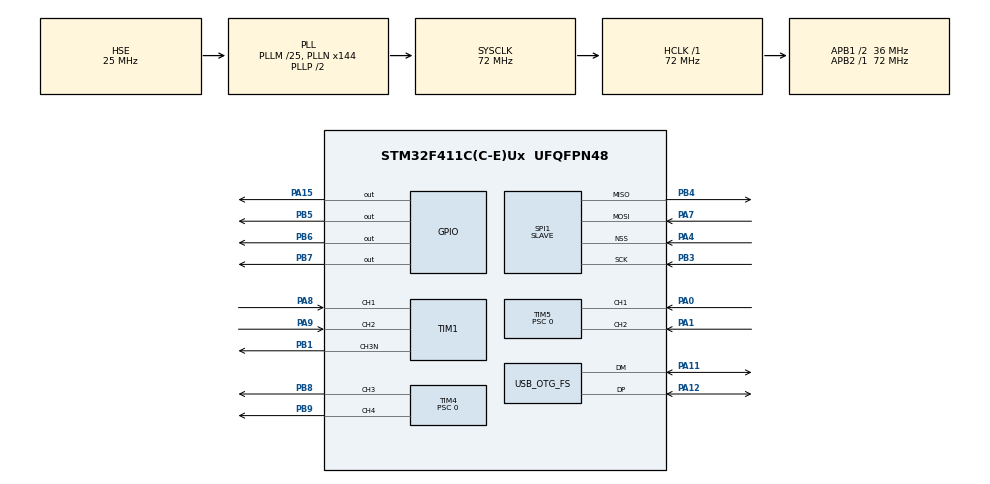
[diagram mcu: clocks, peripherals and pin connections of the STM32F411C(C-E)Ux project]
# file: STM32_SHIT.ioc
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Dma.Request0=SPI1_RX
Dma.Request1=SPI1_TX
Dma.SPI1_RX.0.Direction=DMA_PERIPH_TO_MEMORY
Dma.SPI1_RX.0.FIFOMode=DMA_FIFOMODE_DISABLE
Dma.SPI1_RX.0.Instance=DMA2_Stream0
Dma.SPI1_RX.0.MemDataAlignment=DMA_MDATAALIGN_BYTE
Dma.SPI1_RX.0.MemInc=DMA_MINC_ENABLE
Dma.SPI1_RX.0.Mode=DMA_NORMAL
Dma.SPI1_RX.0.PeriphDataAlignment=DMA_PDATAALIGN_BYTE
Dma.SPI1_RX.0.PeriphInc=DMA_PINC_DISABLE
Dma.SPI1_RX.0.Priority=DMA_PRIORITY_LOW
Dma.SPI1_TX.1.Direction=DMA_MEMORY_TO_PERIPH
Dma.SPI1_TX.1.FIFOMode=DMA_FIFOMODE_DISABLE
Dma.SPI1_TX.1.Instance=DMA2_Stream2
Dma.SPI1_TX.1.MemDataAlignment=DMA_MDATAALIGN_BYTE
Dma.SPI1_TX.1.MemInc=DMA_MINC_ENABLE
Dma.SPI1_TX.1.Mode=DMA_NORMAL
Dma.SPI1_TX.1.PeriphDataAlignment=DMA_PDATAALIGN_BYTE
Dma.SPI1_TX.1.PeriphInc=DMA_PINC_DISABLE
Dma.SPI1_TX.1.Priority=DMA_PRIORITY_LOW
Mcu.Family=STM32F4
Mcu.Name=STM32F411C(C-E)Ux
Mcu.Package=UFQFPN48
NVIC.DMA2_Stream0_IRQn=true\:0\:0\:false\:false\:true\:false\:true\:true
NVIC.DMA2_Stream2_IRQn=true\:0\:0\:false\:false\:true\:false\:true\:true
NVIC.OTG_FS_IRQn=true\:0\:0\:false\:false\:true\:false\:true\:true
NVIC.PriorityGroup=NVIC_PRIORITYGROUP_4
NVIC.SPI1_IRQn=true\:0\:0\:false\:false\:true\:true\:true\:true
PA0-WKUP.Signal=S_TIM5_CH1
PA1.Signal=S_TIM5_CH2
PA11.Mode=Device_Only
PA11.Signal=USB_OTG_FS_DM
PA12.Mode=Device_Only
PA12.Signal=USB_OTG_FS_DP
PA15.Signal=GPIO_Output
PA4.Mode=NSS_Signal_Hard_Input
PA4.Signal=SPI1_NSS
PA7.Mode=Full_Duplex_Slave
PA7.Signal=SPI1_MOSI
PA8.Signal=S_TIM1_CH1
PA9.Signal=S_TIM1_CH2
PB1.Mode=PWM Generation3 CH3N
PB1.Signal=TIM1_CH3N
PB3.Mode=Full_Duplex_Slave
PB3.Signal=SPI1_SCK
PB4.Mode=Full_Duplex_Slave
PB4.Signal=SPI1_MISO
PB5.Signal=GPIO_Output
PB6.Signal=GPIO_Output
PB7.Signal=GPIO_Output
PB8.Signal=S_TIM4_CH3
PB9.Signal=S_TIM4_CH4
PC14-OSC32_IN.Mode=LSE-External-Oscillator
PC14-OSC32_IN.Signal=RCC_OSC32_IN
PC15-OSC32_OUT.Mode=LSE-External-Oscillator
PC15-OSC32_OUT.Signal=RCC_OSC32_OUT
PH0\ -\ OSC_IN.Mode=HSE-External-Oscillator
PH0\ -\ OSC_IN.Signal=RCC_OSC_IN
PH1\ -\ OSC_OUT.Mode=HSE-External-Oscillator
PH1\ -\ OSC_OUT.Signal=RCC_OSC_OUT
ProjectManager.HeapSize=0x200
ProjectManager.StackSize=0x400
ProjectManager.TargetToolchain=STM32CubeIDE
RCC.48MHZClocksFreq_Value=48000000
RCC.AHBFreq_Value=72000000
RCC.APB1CLKDivider=RCC_HCLK_DIV2
RCC.APB1Freq_Value=36000000
RCC.APB1TimFreq_Value=72000000
RCC.APB2Freq_Value=72000000
RCC.APB2TimFreq_Value=72000000
RCC.CortexFreq_Value=72000000
RCC.HCLKFreq_Value=72000000
RCC.HSE_VALUE=25000000
RCC.HSI_VALUE=16000000
RCC.PLLM=25
RCC.PLLN=144
RCC.PLLQ=3
RCC.SYSCLKFreq_VALUE=72000000
RCC.SYSCLKSource=RCC_SYSCLKSOURCE_PLLCLK
RCC.VCOOutputFreq_Value=144000000
SH.S_TIM1_CH1.0=TIM1_CH1,Encoder_Interface
SH.S_TIM1_CH2.0=TIM1_CH2,Encoder_Interface
SH.S_TIM4_CH3.0=TIM4_CH3,PWM Generation3 CH3
SH.S_TIM4_CH4.0=TIM4_CH4,PWM Generation4 CH4
SH.S_TIM5_CH1.0=TIM5_CH1,Encoder_Interface
SH.S_TIM5_CH2.0=TIM5_CH2,Encoder_Interface
SPI1.CLKPhase=SPI_PHASE_1EDGE
SPI1.CLKPolarity=SPI_POLARITY_LOW
SPI1.Direction=SPI_DIRECTION_2LINES
SPI1.Mode=SPI_MODE_SLAVE
SPI1.VirtualNSS=VM_NSSHARD
SPI1.VirtualType=VM_SLAVE
TIM1.AutoReloadPreload=TIM_AUTORELOAD_PRELOAD_ENABLE
TIM1.Channel-PWM\ Generation3\ CH3N=TIM_CHANNEL_3
TIM2.AutoReloadPreload=TIM_AUTORELOAD_PRELOAD_ENABLE
TIM2.Period=65535
TIM2.Prescaler=0
TIM4.AutoReloadPreload=TIM_AUTORELOAD_PRELOAD_ENABLE
TIM4.Channel-PWM\ Generation3\ CH3=TIM_CHANNEL_3
TIM4.Channel-PWM\ Generation4\ CH4=TIM_CHANNEL_4
TIM4.OC3Preload_PWM=DISABLE
TIM4.OC4Preload_PWM=DISABLE
TIM4.OCFastMode_PWM-PWM\ Generation3\ CH3=TIM_OCFAST_DISABLE
TIM4.OCFastMode_PWM-PWM\ Generation4\ CH4=TIM_OCFAST_DISABLE
TIM4.OCPolarity_3=TIM_OCPOLARITY_HIGH
TIM4.OCPolarity_4=TIM_OCPOLARITY_HIGH
TIM4.Period=65535
TIM4.Prescaler=0
TIM5.AutoReloadPreload=TIM_AUTORELOAD_PRELOAD_ENABLE
TIM5.Period=65535
TIM5.Prescaler=0
USB_DEVICE.CLASS_NAME_FS=CDC
USB_DEVICE.VirtualMode=Cdc
USB_DEVICE.VirtualModeFS=Cdc_FS
USB_OTG_FS.Sof_enable=ENABLE
USB_OTG_FS.VirtualMode=Device_Only
VP_TIM2_VS_ClockSourceINT.Mode=Internal
VP_TIM3_VS_ClockSourceINT.Mode=Internal
VP_TIM4_VS_ClockSourceINT.Mode=Internal
VP_USB_DEVICE_VS_USB_DEVICE_CDC_FS.Mode=CDC_FS
board=custom

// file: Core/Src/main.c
/* USER CODE BEGIN Header */
/**
  ******************************************************************************
  * @file           : main.c
  * @brief          : Main program body
  ******************************************************************************
  * @attention
  *
  * Copyright (c) 2024 STMicroelectronics.
  * All rights reserved.
  *
  * This software is licensed under terms that can be found in the LICENSE file
  * in the root directory of this software component.
  * If no LICENSE file comes with this software, it is provided AS-IS.
  *
  ******************************************************************************
  */
/* USER CODE END Header */
#include "main.h"
#include "usb_device.h"

/* USER CODE BEGIN Includes */
#include "impl.h"

/* USER CODE END Includes */

SPI_HandleTypeDef hspi1;
DMA_HandleTypeDef hdma_spi1_rx;
DMA_HandleTypeDef hdma_spi1_tx;

TIM_HandleTypeDef htim1;
TIM_HandleTypeDef htim2;
TIM_HandleTypeDef htim3;
TIM_HandleTypeDef htim4;
TIM_HandleTypeDef htim5;

void SystemClock_Config(void);
static void MX_GPIO_Init(void);
static void MX_DMA_Init(void);
static void MX_TIM2_Init(void);
static void MX_SPI1_Init(void);
static void MX_TIM3_Init(void);
static void MX_TIM4_Init(void);
static void MX_TIM5_Init(void);
static void MX_TIM1_Init(void);

int main(void)
{

  /* MCU Configuration--------------------------------------------------------*/

  /* Reset of all peripherals, Initializes the Flash interface and the Systick. */
  HAL_Init();

  /* Configure the system clock */
  SystemClock_Config();

  /* Initialize all configured peripherals */
  MX_GPIO_Init();
  MX_DMA_Init();
  MX_USB_DEVICE_Init();
  MX_TIM2_Init();
  MX_SPI1_Init();
  MX_TIM3_Init();
  MX_TIM4_Init();
  MX_TIM5_Init();
  MX_TIM1_Init();

  /* Infinite loop */
  /* USER CODE BEGIN WHILE */
  HAL_TIM_Encoder_Start(&htim1, TIM_CHANNEL_1);
  HAL_TIM_Encoder_Start(&htim1, TIM_CHANNEL_2);
  HAL_TIM_Encoder_Start(&htim5, TIM_CHANNEL_1);
  HAL_TIM_Encoder_Start(&htim5, TIM_CHANNEL_2);

  HAL_TIM_PWM_Start(&htim4, TIM_CHANNEL_3); // RIGHT
  HAL_TIM_PWM_Start(&htim4, TIM_CHANNEL_4); // LEFT

  TIM1->CCR1 = 0;
  TIM5->CCR1 = 0;

  while (1)
  {
    /* USER CODE END WHILE */

    /* USER CODE BEGIN 3 */
	  union packet {
		  uint8_t bytes[8];
		  int32_t words[2];
	  };

	  union packet rxdata;
	  rxdata.words[0] = 0;
	  rxdata.words[1] = 0;

	  union packet txdata;
	  txdata.words[0] = getMotorDeltaLeft();
	  txdata.words[1] = getMotorDeltaRight();

	  HAL_SPI_Receive(&hspi1, rxdata.bytes, 1, 2);

	  switch (rxdata.bytes[0]) {
	  case 0xAB:
		  HAL_SPI_Receive(&hspi1, rxdata.bytes, 1, 2);
		  if (rxdata.bytes[0] == 0xCD) {
			  HAL_SPI_Transmit(&hspi1, (void*)txdata.bytes, sizeof(txdata.bytes), sizeof(txdata.bytes) * 10);
			  xprintf("\nGET Left: %d, Right: %d\n", txdata.words[0], txdata.words[1]);
		  }
		  break;
	  case 0xDE:
		  HAL_SPI_Receive(&hspi1, rxdata.bytes, 1, 2);
		  if (rxdata.bytes[0] == 0xAD) {
			  HAL_SPI_Receive(&hspi1, (void*)rxdata.bytes, sizeof(rxdata.bytes), sizeof(rxdata.bytes) * 10);
			  xprintf("\nSET Left: %d, Right: %d\n", rxdata.words[0], rxdata.words[1]);

			  setMotorDeltaLeft(rxdata.words[0]);
			  setMotorDeltaRight(rxdata.words[1]);
		  }
		  break;
	  default:
		  break;
	  }
  }
  /* USER CODE END 3 */
}

void SystemClock_Config(void)
{
  RCC_OscInitTypeDef RCC_OscInitStruct = {0};
  RCC_ClkInitTypeDef RCC_ClkInitStruct = {0};

  /** Configure the main internal regulator output voltage
  */
  __HAL_RCC_PWR_CLK_ENABLE();
  __HAL_PWR_VOLTAGESCALING_CONFIG(PWR_REGULATOR_VOLTAGE_SCALE1);

  /** Initializes the RCC Oscillators according to the specified parameters
  * in the RCC_OscInitTypeDef structure.
  */
  RCC_OscInitStruct.OscillatorType = RCC_OSCILLATORTYPE_HSE;
  RCC_OscInitStruct.HSEState = RCC_HSE_ON;
  RCC_OscInitStruct.PLL.PLLState = RCC_PLL_ON;
  RCC_OscInitStruct.PLL.PLLSource = RCC_PLLSOURCE_HSE;
  RCC_OscInitStruct.PLL.PLLM = 25;
  RCC_OscInitStruct.PLL.PLLN = 144;
  RCC_OscInitStruct.PLL.PLLP = RCC_PLLP_DIV2;
  RCC_OscInitStruct.PLL.PLLQ = 3;
  if (HAL_RCC_OscConfig(&RCC_OscInitStruct) != HAL_OK)
  {
    Error_Handler();
  }

  /** Initializes the CPU, AHB and APB buses clocks
  */
  RCC_ClkInitStruct.ClockType = RCC_CLOCKTYPE_HCLK|RCC_CLOCKTYPE_SYSCLK
                              |RCC_CLOCKTYPE_PCLK1|RCC_CLOCKTYPE_PCLK2;
  RCC_ClkInitStruct.SYSCLKSource = RCC_SYSCLKSOURCE_PLLCLK;
  RCC_ClkInitStruct.AHBCLKDivider = RCC_SYSCLK_DIV1;
  RCC_ClkInitStruct.APB1CLKDivider = RCC_HCLK_DIV2;
  RCC_ClkInitStruct.APB2CLKDivider = RCC_HCLK_DIV1;

  if (HAL_RCC_ClockConfig(&RCC_ClkInitStruct, FLASH_LATENCY_2) != HAL_OK)
  {
    Error_Handler();
  }
}

static void MX_SPI1_Init(void)
{

  /* SPI1 parameter configuration*/
  hspi1.Instance = SPI1;
  hspi1.Init.Mode = SPI_MODE_SLAVE;
  hspi1.Init.Direction = SPI_DIRECTION_2LINES;
  hspi1.Init.DataSize = SPI_DATASIZE_8BIT;
  hspi1.Init.CLKPolarity = SPI_POLARITY_LOW;
  hspi1.Init.CLKPhase = SPI_PHASE_1EDGE;
  hspi1.Init.NSS = SPI_NSS_HARD_INPUT;
  hspi1.Init.FirstBit = SPI_FIRSTBIT_MSB;
  hspi1.Init.TIMode = SPI_TIMODE_DISABLE;
  hspi1.Init.CRCCalculation = SPI_CRCCALCULATION_DISABLE;
  hspi1.Init.CRCPolynomial = 10;
  if (HAL_SPI_Init(&hspi1) != HAL_OK)
  {
    Error_Handler();
  }

}

static void MX_TIM1_Init(void)
{

  TIM_Encoder_InitTypeDef sConfig = {0};
  TIM_MasterConfigTypeDef sMasterConfig = {0};
  TIM_OC_InitTypeDef sConfigOC = {0};
  TIM_BreakDeadTimeConfigTypeDef sBreakDeadTimeConfig = {0};

  htim1.Instance = TIM1;
  htim1.Init.Prescaler = 0;
  htim1.Init.CounterMode = TIM_COUNTERMODE_UP;
  htim1.Init.Period = 65535;
  htim1.Init.ClockDivision = TIM_CLOCKDIVISION_DIV1;
  htim1.Init.RepetitionCounter = 0;
  htim1.Init.AutoReloadPreload = TIM_AUTORELOAD_PRELOAD_ENABLE;
  if (HAL_TIM_PWM_Init(&htim1) != HAL_OK)
  {
    Error_Handler();
  }
  sConfig.EncoderMode = TIM_ENCODERMODE_TI1;
  sConfig.IC1Polarity = TIM_ICPOLARITY_RISING;
  sConfig.IC1Selection = TIM_ICSELECTION_DIRECTTI;
  sConfig.IC1Prescaler = TIM_ICPSC_DIV1;
  sConfig.IC1Filter = 0;
  sConfig.IC2Polarity = TIM_ICPOLARITY_RISING;
  sConfig.IC2Selection = TIM_ICSELECTION_DIRECTTI;
  sConfig.IC2Prescaler = TIM_ICPSC_DIV1;
  sConfig.IC2Filter = 0;
  if (HAL_TIM_Encoder_Init(&htim1, &sConfig) != HAL_OK)
  {
    Error_Handler();
  }
  sMasterConfig.MasterOutputTrigger = TIM_TRGO_RESET;
  sMasterConfig.MasterSlaveMode = TIM_MASTERSLAVEMODE_DISABLE;
  if (HAL_TIMEx_MasterConfigSynchronization(&htim1, &sMasterConfig) != HAL_OK)
  {
    Error_Handler();
  }
  sConfigOC.OCMode = TIM_OCMODE_PWM1;
  sConfigOC.Pulse = 0;
  sConfigOC.OCPolarity = TIM_OCPOLARITY_HIGH;
  sConfigOC.OCNPolarity = TIM_OCNPOLARITY_HIGH;
  sConfigOC.OCFastMode = TIM_OCFAST_DISABLE;
  sConfigOC.OCIdleState = TIM_OCIDLESTATE_RESET;
  sConfigOC.OCNIdleState = TIM_OCNIDLESTATE_RESET;
  if (HAL_TIM_PWM_ConfigChannel(&htim1, &sConfigOC, TIM_CHANNEL_3) != HAL_OK)
  {
    Error_Handler();
  }
  sBreakDeadTimeConfig.OffStateRunMode = TIM_OSSR_DISABLE;
  sBreakDeadTimeConfig.OffStateIDLEMode = TIM_OSSI_DISABLE;
  sBreakDeadTimeConfig.LockLevel = TIM_LOCKLEVEL_OFF;
  sBreakDeadTimeConfig.DeadTime = 0;
  sBreakDeadTimeConfig.BreakState = TIM_BREAK_DISABLE;
  sBreakDeadTimeConfig.BreakPolarity = TIM_BREAKPOLARITY_HIGH;
  sBreakDeadTimeConfig.AutomaticOutput = TIM_AUTOMATICOUTPUT_DISABLE;
  if (HAL_TIMEx_ConfigBreakDeadTime(&htim1, &sBreakDeadTimeConfig) != HAL_OK)
  {
    Error_Handler();
  }
  HAL_TIM_MspPostInit(&htim1);

}

static void MX_TIM2_Init(void)
{

  TIM_ClockConfigTypeDef sClockSourceConfig = {0};
  TIM_MasterConfigTypeDef sMasterConfig = {0};

  htim2.Instance = TIM2;
  htim2.Init.Prescaler = 0;
  htim2.Init.CounterMode = TIM_COUNTERMODE_UP;
  htim2.Init.Period = 65535;
  htim2.Init.ClockDivision = TIM_CLOCKDIVISION_DIV1;
  htim2.Init.AutoReloadPreload = TIM_AUTORELOAD_PRELOAD_ENABLE;
  if (HAL_TIM_Base_Init(&htim2) != HAL_OK)
  {
    Error_Handler();
  }
  sClockSourceConfig.ClockSource = TIM_CLOCKSOURCE_INTERNAL;
  if (HAL_TIM_ConfigClockSource(&htim2, &sClockSourceConfig) != HAL_OK)
  {
    Error_Handler();
  }
  sMasterConfig.MasterOutputTrigger = TIM_TRGO_RESET;
  sMasterConfig.MasterSlaveMode = TIM_MASTERSLAVEMODE_DISABLE;
  if (HAL_TIMEx_MasterConfigSynchronization(&htim2, &sMasterConfig) != HAL_OK)
  {
    Error_Handler();
  }

}

static void MX_TIM3_Init(void)
{

  TIM_ClockConfigTypeDef sClockSourceConfig = {0};
  TIM_MasterConfigTypeDef sMasterConfig = {0};

  htim3.Instance = TIM3;
  htim3.Init.Prescaler = 0;
  htim3.Init.CounterMode = TIM_COUNTERMODE_UP;
  htim3.Init.Period = 65535;
  htim3.Init.ClockDivision = TIM_CLOCKDIVISION_DIV1;
  htim3.Init.AutoReloadPreload = TIM_AUTORELOAD_PRELOAD_DISABLE;
  if (HAL_TIM_Base_Init(&htim3) != HAL_OK)
  {
    Error_Handler();
  }
  sClockSourceConfig.ClockSource = TIM_CLOCKSOURCE_INTERNAL;
  if (HAL_TIM_ConfigClockSource(&htim3, &sClockSourceConfig) != HAL_OK)
  {
    Error_Handler();
  }
  sMasterConfig.MasterOutputTrigger = TIM_TRGO_RESET;
  sMasterConfig.MasterSlaveMode = TIM_MASTERSLAVEMODE_DISABLE;
  if (HAL_TIMEx_MasterConfigSynchronization(&htim3, &sMasterConfig) != HAL_OK)
  {
    Error_Handler();
  }

}

static void MX_TIM4_Init(void)
{

  TIM_ClockConfigTypeDef sClockSourceConfig = {0};
  TIM_MasterConfigTypeDef sMasterConfig = {0};
  TIM_OC_InitTypeDef sConfigOC = {0};

  htim4.Instance = TIM4;
  htim4.Init.Prescaler = 0;
  htim4.Init.CounterMode = TIM_COUNTERMODE_UP;
  htim4.Init.Period = 65535;
  htim4.Init.ClockDivision = TIM_CLOCKDIVISION_DIV1;
  htim4.Init.AutoReloadPreload = TIM_AUTORELOAD_PRELOAD_ENABLE;
  if (HAL_TIM_Base_Init(&htim4) != HAL_OK)
  {
    Error_Handler();
  }
  sClockSourceConfig.ClockSource = TIM_CLOCKSOURCE_INTERNAL;
  if (HAL_TIM_ConfigClockSource(&htim4, &sClockSourceConfig) != HAL_OK)
  {
    Error_Handler();
  }
  if (HAL_TIM_PWM_Init(&htim4) != HAL_OK)
  {
    Error_Handler();
  }
  sMasterConfig.MasterOutputTrigger = TIM_TRGO_RESET;
  sMasterConfig.MasterSlaveMode = TIM_MASTERSLAVEMODE_DISABLE;
  if (HAL_TIMEx_MasterConfigSynchronization(&htim4, &sMasterConfig) != HAL_OK)
  {
    Error_Handler();
  }
  sConfigOC.OCMode = TIM_OCMODE_PWM1;
  sConfigOC.Pulse = 0;
  sConfigOC.OCPolarity = TIM_OCPOLARITY_HIGH;
  sConfigOC.OCFastMode = TIM_OCFAST_DISABLE;
  if (HAL_TIM_PWM_ConfigChannel(&htim4, &sConfigOC, TIM_CHANNEL_3) != HAL_OK)
  {
    Error_Handler();
  }
  __HAL_TIM_DISABLE_OCxPRELOAD(&htim4, TIM_CHANNEL_3);
  if (HAL_TIM_PWM_ConfigChannel(&htim4, &sConfigOC, TIM_CHANNEL_4) != HAL_OK)
  {
    Error_Handler();
  }
  __HAL_TIM_DISABLE_OCxPRELOAD(&htim4, TIM_CHANNEL_4);
  HAL_TIM_MspPostInit(&htim4);

}

static void MX_TIM5_Init(void)
{

  TIM_Encoder_InitTypeDef sConfig = {0};
  TIM_MasterConfigTypeDef sMasterConfig = {0};

  htim5.Instance = TIM5;
  htim5.Init.Prescaler = 0;
  htim5.Init.CounterMode = TIM_COUNTERMODE_UP;
  htim5.Init.Period = 65535;
  htim5.Init.ClockDivision = TIM_CLOCKDIVISION_DIV1;
  htim5.Init.AutoReloadPreload = TIM_AUTORELOAD_PRELOAD_ENABLE;
  sConfig.EncoderMode = TIM_ENCODERMODE_TI1;
  sConfig.IC1Polarity = TIM_ICPOLARITY_RISING;
  sConfig.IC1Selection = TIM_ICSELECTION_DIRECTTI;
  sConfig.IC1Prescaler = TIM_ICPSC_DIV1;
  sConfig.IC1Filter = 0;
  sConfig.IC2Polarity = TIM_ICPOLARITY_RISING;
  sConfig.IC2Selection = TIM_ICSELECTION_DIRECTTI;
  sConfig.IC2Prescaler = TIM_ICPSC_DIV1;
  sConfig.IC2Filter = 0;
  if (HAL_TIM_Encoder_Init(&htim5, &sConfig) != HAL_OK)
  {
    Error_Handler();
  }
  sMasterConfig.MasterOutputTrigger = TIM_TRGO_RESET;
  sMasterConfig.MasterSlaveMode = TIM_MASTERSLAVEMODE_DISABLE;
  if (HAL_TIMEx_MasterConfigSynchronization(&htim5, &sMasterConfig) != HAL_OK)
  {
    Error_Handler();
  }

}

static void MX_DMA_Init(void)
{

  /* DMA controller clock enable */
  __HAL_RCC_DMA2_CLK_ENABLE();

  /* DMA interrupt init */
  /* DMA2_Stream0_IRQn interrupt configuration */
  HAL_NVIC_SetPriority(DMA2_Stream0_IRQn, 0, 0);
  HAL_NVIC_EnableIRQ(DMA2_Stream0_IRQn);
  /* DMA2_Stream2_IRQn interrupt configuration */
  HAL_NVIC_SetPriority(DMA2_Stream2_IRQn, 0, 0);
  HAL_NVIC_EnableIRQ(DMA2_Stream2_IRQn);

}

static void MX_GPIO_Init(void)
{
  GPIO_InitTypeDef GPIO_InitStruct = {0};

  /* GPIO Ports Clock Enable */
  __HAL_RCC_GPIOC_CLK_ENABLE();
  __HAL_RCC_GPIOH_CLK_ENABLE();
  __HAL_RCC_GPIOA_CLK_ENABLE();
  __HAL_RCC_GPIOB_CLK_ENABLE();

  /*Configure GPIO pin Output Level */
  HAL_GPIO_WritePin(GPIOA, GPIO_PIN_15, GPIO_PIN_RESET);

  /*Configure GPIO pin Output Level */
  HAL_GPIO_WritePin(GPIOB, GPIO_PIN_5|GPIO_PIN_6|GPIO_PIN_7, GPIO_PIN_RESET);

  /*Configure GPIO pin : PA15 */
  GPIO_InitStruct.Pin = GPIO_PIN_15;
  GPIO_InitStruct.Mode = GPIO_MODE_OUTPUT_PP;
  GPIO_InitStruct.Pull = GPIO_NOPULL;
  GPIO_InitStruct.Speed = GPIO_SPEED_FREQ_LOW;
  HAL_GPIO_Init(GPIOA, &GPIO_InitStruct);

  /*Configure GPIO pins : PB5 PB6 PB7 */
  GPIO_InitStruct.Pin = GPIO_PIN_5|GPIO_PIN_6|GPIO_PIN_7;
  GPIO_InitStruct.Mode = GPIO_MODE_OUTPUT_PP;
  GPIO_InitStruct.Pull = GPIO_NOPULL;
  GPIO_InitStruct.Speed = GPIO_SPEED_FREQ_LOW;
  HAL_GPIO_Init(GPIOB, &GPIO_InitStruct);

}

void Error_Handler(void)
{
  __disable_irq();
  while (1)
  {
  }
}
